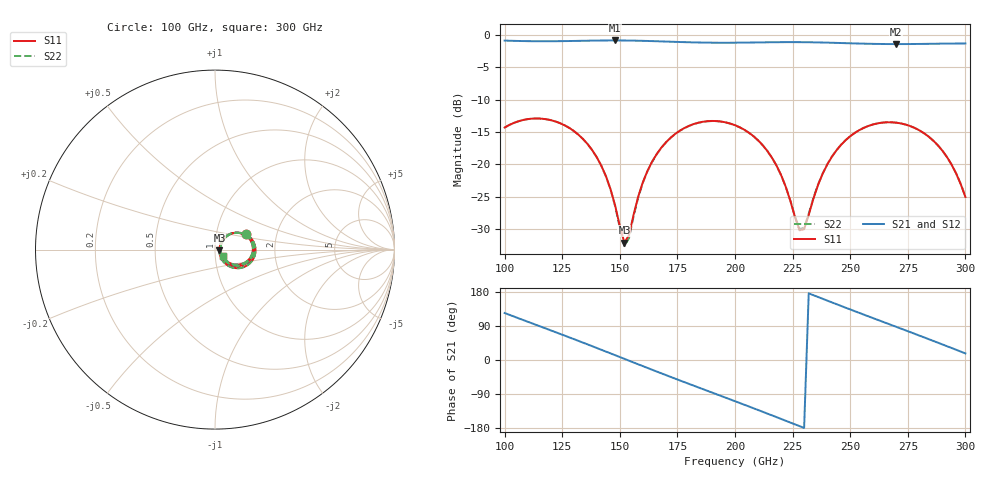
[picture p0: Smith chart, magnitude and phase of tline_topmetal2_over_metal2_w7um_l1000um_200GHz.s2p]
#  GHZ S DB R 50
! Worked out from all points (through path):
!   101 points, 100 GHz to 300 GHz, reference 50 ohm
!   highest |S21| = -0.88 dB at 148 GHz (marker M1); lowest = -1.4 dB at 270 GHz (marker M2)
!   group delay of S21, straight-line fit = 6.49 ps
!   lowest |S11| = -32.1 dB at 152 GHz (marker M3), VSWR 1.05, Z = 52.5 - j0.459 ohm
!   |S11| at or under -10 dB: start of sweep to end of sweep
!   |S22| runs from -32.6 to -12.9 dB; largest |S21 - S12| = 9.8e-14
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100  -14.32 26.9  -0.90 124.0  -0.90 124.0  -14.33 26.7
118  -13.03 -9.7  -1.01 82.9  -1.01 82.9  -13.03 -10.0
134  -16.08 -41.2  -0.93 45.9  -0.93 45.9  -16.08 -41.7
142  -20.23 -53.3  -0.89 26.9  -0.89 26.9  -20.25 -54.3
148  -26.39 -50.6  -0.88 12.6  -0.88 12.6  -26.50 -52.4
152  -32.07 -10.1  -0.89 3.0  -0.89 3.0  -32.63 -11.3
154  -30.91 25.3  -0.90 -1.8  -0.90 -1.8  -31.37 26.7
160  -22.76 51.7  -0.94 -16.1  -0.94 -16.1  -22.85 52.8
168  -17.44 43.2  -1.03 -35.1  -1.03 -35.1  -17.47 43.8
184  -13.58 13.1  -1.19 -72.1  -1.19 -72.1  -13.60 13.4
200  -13.96 -18.4  -1.23 -108.7  -1.23 -108.7  -13.97 -18.1
216  -18.95 -45.5  -1.16 -146.0  -1.16 -146.0  -18.96 -45.0
228  -30.17 -12.0  -1.14 -174.6  -1.14 -174.6  -29.96 -11.0
230  -30.01 16.6  -1.15 -179.3  -1.15 -179.3  -29.76 16.6
234  -25.33 45.7  -1.17 171.1  -1.17 171.1  -25.22 45.1
240  -20.05 48.6  -1.22 156.9  -1.22 156.9  -20.02 48.2
248  -16.28 37.6  -1.30 138.1  -1.30 138.1  -16.26 37.3
258  -14.06 19.2  -1.39 115.0  -1.39 115.0  -14.05 19.1
268  -13.51 -0.1  -1.44 92.1  -1.44 92.1  -13.51 -0.2
270  -13.57 -4.0  -1.44 87.5  -1.44 87.5  -13.57 -4.1
288  -17.04 -36.6  -1.38 45.8  -1.38 45.8  -17.04 -36.4
300  -25.03 -39.8  -1.35 17.4  -1.35 17.4  -24.95 -38.7
